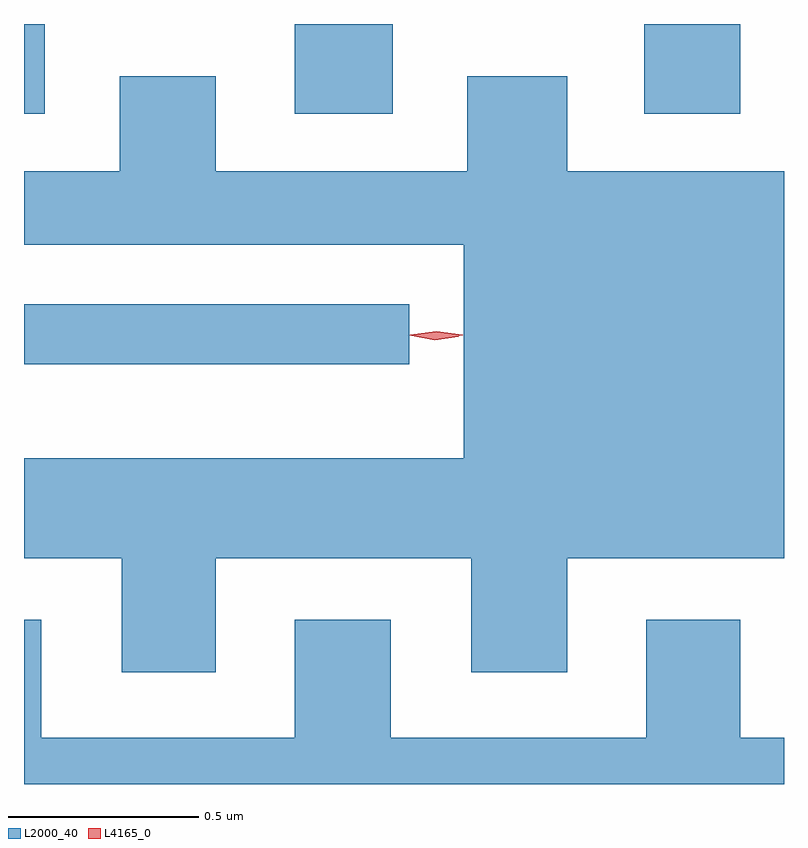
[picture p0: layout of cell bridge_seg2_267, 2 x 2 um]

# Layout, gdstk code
import gdstk
lib = gdstk.Library(unit=1e-6, precision=1e-09)
def R(c, l, rs):  # rectangles x0, y0, x1, y1
    for r in rs: c.add(gdstk.rectangle(r[:2], r[2:], *l))
def P(c, l, *ps):  # polygons
    for p in ps: c.add(gdstk.Polygon(p, *l))
L2000_40 = (2000, 40)
L4165_0 = (4165, 0)

bridge_seg2_267 = lib.new_cell('bridge_seg2_267')
R(bridge_seg2_267, L2000_40, [(658.734,1098.406,659.748,1098.564), (658.734,1099.066,658.789,1099.302), (659.446,1099.066,659.704,1099.302), (660.366,1099.066,660.619,1099.302)])
P(bridge_seg2_267, L2000_40, [(659.239,1097.896),(659.911,1097.896),(659.911,1097.596),(660.164,1097.596),(660.164,1097.896),(660.734,1097.896),(660.734,1098.914),(660.164,1098.914),(660.164,1099.164),(659.901,1099.164),(659.901,1098.914),(659.239,1098.914),(659.239,1099.164),(658.986,1099.164),(658.986,1098.914),(658.734,1098.914),(658.734,1098.721),(659.891,1098.721),(659.891,1098.159),(658.734,1098.159),(658.734,1097.896),(658.991,1097.896),(658.991,1097.596),(659.239,1097.596)],
  [(660.734,1097.424),(660.619,1097.424),(660.619,1097.734),(660.371,1097.734),(660.371,1097.424),(659.699,1097.424),(659.699,1097.734),(659.446,1097.734),(659.446,1097.424),(658.779,1097.424),(658.779,1097.734),(658.734,1097.734),(658.734,1097.302),(660.734,1097.302)])
P(bridge_seg2_267, L4165_0, [(659.815,1098.47),(659.754,1098.481),(659.753,1098.482),(659.754,1098.482),(659.816,1098.49),(659.877,1098.48),(659.878,1098.479),(659.877,1098.479)],
  [(659.819,1098.473),(659.75,1098.483),(659.749,1098.483),(659.75,1098.484),(659.819,1098.493),(659.888,1098.484),(659.888,1098.483),(659.888,1098.483)])

lib.write_gds('bridge_seg2_267.gds')
